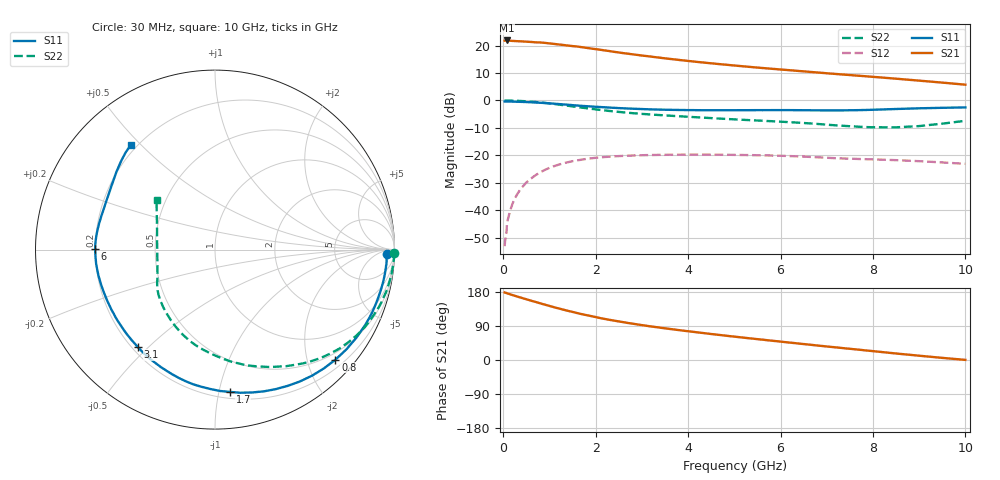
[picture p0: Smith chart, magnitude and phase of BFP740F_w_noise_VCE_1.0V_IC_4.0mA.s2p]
! Infineon Technologies  Discrete & RF Semiconductors
! BFP740F
! VCE =  1.0 V,  IC =  4.0 mA
! Common Emitter S-Parameters:  Oct 2012
# GHz  S  MA  R  50
!  f  S11  S21  S12  S22
! GHz  MAG  ANG  MAG  ANG  MAG  ANG  MAG  ANG
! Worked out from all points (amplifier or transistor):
!   99 points, 30 MHz to 10 GHz, reference 50 ohm
!   highest |S21| = 21.9 dB at 80 MHz (marker M1)
!   |S21| within 3 dB of that: start of sweep to 1.925 GHz
!   unconditionally stable (mu >= 1): 8.237 GHz to end of sweep
!   at 350 MHz: K = 0.03, MSG = 27.3 dB, |S12| = -33.0 dB
!   at 3.5 GHz: K = 0.30, MSG = 17.6 dB, |S12| = -19.8 dB
!   at 10 GHz: K = 1.23, MAG = 11.5 dB, |S12| = -23.1 dB
!   lowest NFmin = 0.36 dB at 450 MHz
!   S11 on the Smith chart (normalised r, x): 30 MHz: 33, -22; 800 MHz: 0.36, -2.53; 1.7 GHz: 0.25, -1.08; 3.1 GHz: 0.22, -0.46; 6 GHz: 0.20, +0.00; 10 GHz: 0.18, +0.47
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0.03  0.959 -1.6  12.32 178.2  0.0022 98.9  0.9982 -1.2
0.05  0.9584 -2.7  12.44 177.5  0.0031 103.6  0.998 -2.0
0.08  0.9584 -4.4  12.45 176.3  0.0054 92.8  0.9979 -3.2
0.25  0.9513 -13.6  12.16 169.4  0.0163 81.4  0.9892 -10.0
0.45  0.9398 -24.2  11.91 162.0  0.0286 75.0  0.9721 -17.8
0.8  0.9091 -42.4  11.43 149.6  0.0489 63.4  0.9226 -31.2
1  0.8866 -52.3  10.99 142.7  0.059 57.1  0.8852 -38.6
1.2  0.8608 -61.8  10.52 136.0  0.0675 51.1  0.8436 -45.7
1.6  0.8098 -80.0  9.656 123.8  0.0809 40.6  0.7605 -58.7
1.7  0.7973 -84.0  9.382 121.0  0.0834 38.2  0.7402 -61.7
2.1  0.7601 -99.3  8.418 110.6  0.0917 29.3  0.6723 -73.8
2.3  0.7423 -106.0  7.963 106.0  0.0944 25.4  0.6433 -79.1
2.7  0.7135 -117.8  7.139 97.7  0.0984 18.9  0.5968 -88.4
3.1  0.6925 -128.4  6.468 90.3  0.1008 13.3  0.5622 -96.6
3.4  0.6815 -135.4  6.017 85.2  0.1019 9.5  0.541 -102.0
3.8  0.6717 -143.8  5.494 78.9  0.1026 5.0  0.5163 -108.2
4.3  0.6649 -153.5  4.959 71.5  0.1028 -0.1  0.4873 -115.5
5.1  0.6654 -167.3  4.27 60.3  0.1016 -7.4  0.4479 -126.6
6  0.6674 179.6  3.674 48.6  0.0981 -14.8  0.4104 -138.7
6.7  0.6622 168.5  3.292 39.5  0.093 -20.0  0.3784 -148.3
8.5  0.6996 141.7  2.499 17.2  0.0816 -27.6  0.3239 174.7
10  0.748 128.9  1.942 0.3  0.0699 -32.7  0.426 139.9
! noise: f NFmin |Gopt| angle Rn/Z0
0.45  0.36  0.43  8  0.21
0.9  0.42  0.43  14  0.18
1.5  0.5  0.42  25  0.15
1.9  0.56  0.41  34  0.14
2.4  0.63  0.38  43  0.14
3.5  0.79  0.35  66  0.13
5.5  1.07  0.25  111  0.22
10  1.64  0.44  -130  0.08
